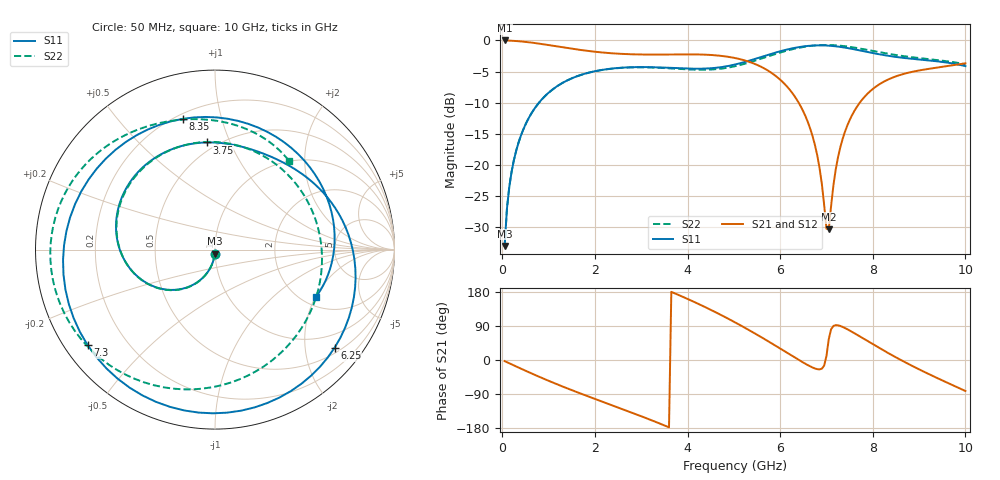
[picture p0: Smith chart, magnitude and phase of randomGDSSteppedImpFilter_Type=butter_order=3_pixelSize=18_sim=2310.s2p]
! freq	dB(S11)	phase(S11)	dB(S12)	phase(S12)
!  dB(S21)	phase(S21)	dB(S22)	phase(S22)
!S-par simulation data
#  GHz  S  DB  R 50
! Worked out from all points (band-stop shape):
!   200 points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, 50 MHz to 10 GHz, reference 50 ohm
!   highest |S21| = -0.01 dB at 50 MHz (marker M1); lowest = -30.3 dB at 7.05 GHz (marker M2)
!   |S21| within 3 dB of the highest: start of sweep to 5.13 GHz
!   lowest |S11| = -33.1 dB at 50 MHz (marker M3), VSWR 1.05, Z = 49.8 - j2.22 ohm
!   |S11| at or under -10 dB: start of sweep to 793.2 MHz
!   |S22| runs from -33.1 to -0.7 dB; largest |S21 - S12| = 0
!   S11 on the Smith chart (normalised r, x): 50 MHz: 1.00, -0.04; 3.75 GHz: 0.44, +0.82; 6.25 GHz: 0.62, -2.66; 7.3 GHz: 0.07, -0.33; 8.35 GHz: 0.23, +0.76; 10 GHz: 2.36, -2.02
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0.05  -33.05 -92.9  -0.01 -2.9  -0.01 -2.9  -33.07 -93.0
0.2  -21.15 -102.1  -0.05 -11.4  -0.05 -11.4  -21.13 -101.9
0.5  -13.53 -119.0  -0.23 -28.2  -0.23 -28.2  -13.53 -118.7
1.1  -7.80 -150.7  -0.87 -59.9  -0.87 -59.9  -7.81 -150.3
1.75  -5.42 178.3  -1.59 -91.2  -1.59 -91.2  -5.43 178.1
2.55  -4.40 143.5  -2.15 -127.6  -2.15 -127.6  -4.42 140.2
3.4  -4.34 108.4  -2.27 -167.6  -2.27 -167.6  -4.40 95.6
3.75  -4.45 94.4  -2.24 174.6  -2.24 174.6  -4.55 74.2
4.5  -4.47 64.8  -2.34 132.5  -2.34 132.5  -4.68 20.0
5.05  -3.83 40.7  -2.87 97.8  -2.87 97.8  -4.11 -25.7
5.7  -2.40 3.0  -4.68 52.5  -4.68 52.5  -2.66 -79.6
6.25  -1.29 -39.4  -8.33 11.6  -8.33 11.6  -1.44 -121.6
6.7  -0.83 -80.8  -15.39 -19.8  -15.39 -19.8  -0.85 -153.4
6.85  -0.79 -95.8  -20.46 -24.8  -20.46 -24.8  -0.76 -163.4
7  -0.82 -111.2  -30.26 10.5  -30.26 10.5  -0.73 -173.1
7.05  -0.84 -116.4  -30.35 55.2  -30.35 55.2  -0.74 -176.2
7.3  -1.04 -143.2  -17.15 89.8  -17.15 89.8  -0.85 168.6
7.75  -1.65 167.4  -9.71 60.0  -9.71 60.0  -1.34 144.3
8.35  -2.49 103.9  -6.22 17.1  -6.22 17.1  -2.17 117.3
8.7  -2.84 70.6  -5.32 -6.1  -5.32 -6.1  -2.56 103.3
9.15  -3.17 33.0  -4.64 -33.6  -4.64 -33.6  -2.96 85.6
10  -4.13 -25.0  -3.68 -81.8  -3.68 -81.8  -3.82 50.2
